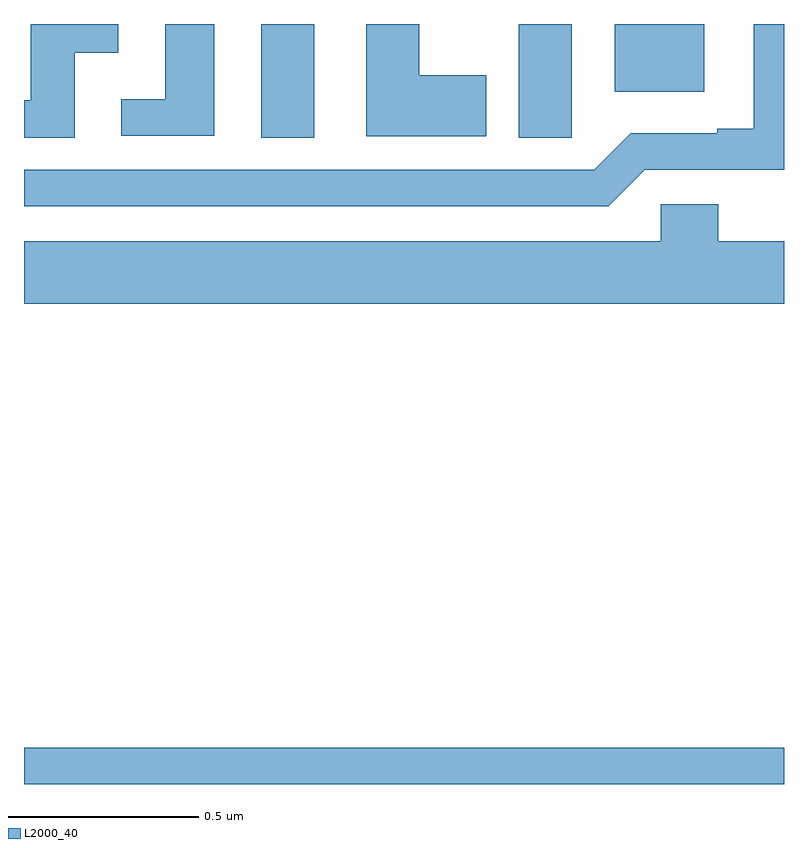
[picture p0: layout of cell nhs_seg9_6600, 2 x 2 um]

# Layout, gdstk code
import gdstk
lib = gdstk.Library(unit=1e-6, precision=1e-09)
def R(c, l, rs):  # rectangles x0, y0, x1, y1
    for r in rs: c.add(gdstk.rectangle(r[:2], r[2:], *l))
def P(c, l, *ps):  # polygons
    for p in ps: c.add(gdstk.Polygon(p, *l))
L2000_40 = (2000, 40)

nhs_seg9_6600 = lib.new_cell('nhs_seg9_6600')
R(nhs_seg9_6600, L2000_40, [(194,1184.5,196,1184.596), (194.624,1186.201,194.764,1186.5), (195.554,1186.322,195.79,1186.5)])
P(nhs_seg9_6600, L2000_40, [(194.5,1186.5),(194.372,1186.5),(194.372,1186.302),(194.256,1186.302),(194.256,1186.206),(194.5,1186.206)],
  [(194.134,1186.424),(194.248,1186.424),(194.248,1186.5),(194.018,1186.5),(194.018,1186.299),(194,1186.299),(194,1186.201),(194.134,1186.201)],
  [(195.217,1186.365),(195.04,1186.365),(195.04,1186.5),(194.9,1186.5),(194.9,1186.205),(195.217,1186.205)],
  [(195.441,1186.312),(195.442,1186.312),(195.442,1186.5),(195.302,1186.5),(195.302,1186.201),(195.441,1186.201)],
  [(195.633,1186.116),(196,1186.116),(196,1186.5),(195.92,1186.5),(195.92,1186.225),(195.824,1186.225),(195.824,1186.212),(195.597,1186.212),(195.501,1186.116),(194,1186.116),(194,1186.02),(195.537,1186.02)],
  [(196,1185.928),(195.827,1185.928),(195.827,1186.026),(195.675,1186.026),(195.675,1185.928),(194,1185.928),(194,1185.764),(196,1185.764)])

lib.write_gds('nhs_seg9_6600.gds')
